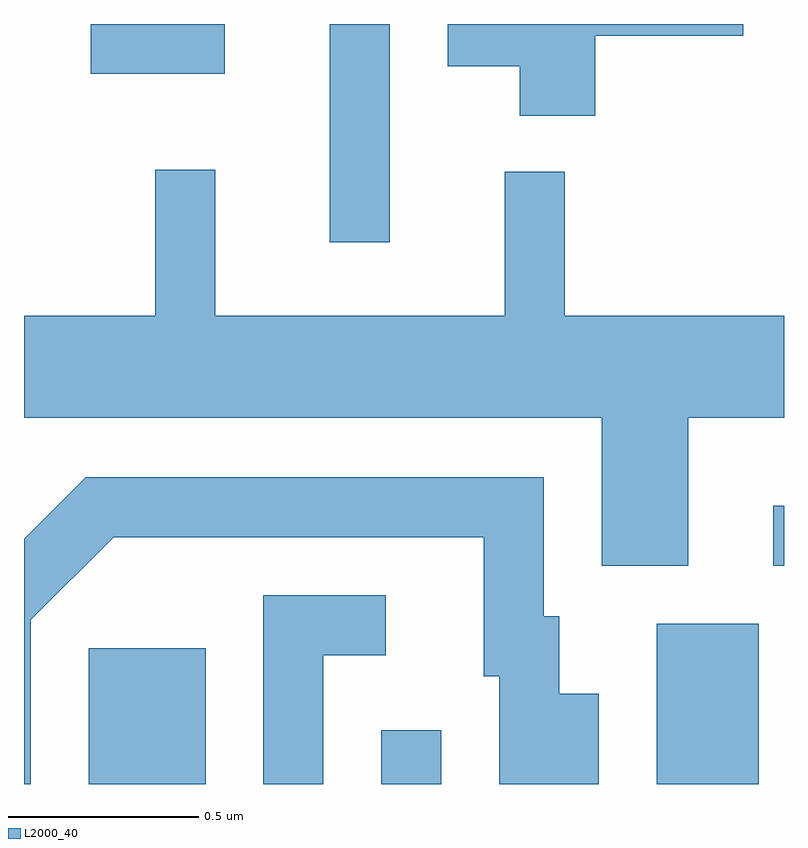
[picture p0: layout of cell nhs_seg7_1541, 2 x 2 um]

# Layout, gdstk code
import gdstk
lib = gdstk.Library(unit=1e-6, precision=1e-09)
def R(c, l, rs):  # rectangles x0, y0, x1, y1
    for r in rs: c.add(gdstk.rectangle(r[:2], r[2:], *l))
def P(c, l, *ps):  # polygons
    for p in ps: c.add(gdstk.Polygon(p, *l))
L2000_40 = (2000, 40)

nhs_seg7_1541 = lib.new_cell('nhs_seg7_1541')
R(nhs_seg7_1541, L2000_40, [(196.781,1702.252,197.089,1702.609), (197.551,1702.252,197.709,1702.393), (198.276,1702.252,198.544,1702.674), (198.583,1702.826,198.611,1702.984), (197.416,1703.678,197.574,1704.252), (196.786,1704.121,197.139,1704.252)])
P(nhs_seg7_1541, L2000_40, [(198.114,1704.221),(198.504,1704.221),(198.504,1704.252),(197.726,1704.252),(197.726,1704.141),(197.916,1704.141),(197.916,1704.011),(198.114,1704.011)],
  [(198.359,1703.216),(198.611,1703.216),(198.611,1703.484),(198.034,1703.484),(198.034,1703.863),(197.876,1703.863),(197.876,1703.484),(197.114,1703.484),(197.114,1703.868),(196.956,1703.868),(196.956,1703.484),(196.611,1703.484),(196.611,1703.216),(198.131,1703.216),(198.131,1702.826),(198.359,1702.826)],
  [(196.629,1702.684),(196.847,1702.901),(197.821,1702.901),(197.821,1702.536),(197.861,1702.536),(197.861,1702.252),(198.124,1702.252),(198.124,1702.489),(198.019,1702.489),(198.019,1702.694),(197.979,1702.694),(197.979,1703.059),(196.774,1703.059),(196.611,1702.897),(196.611,1702.252),(196.629,1702.252)],
  [(197.399,1702.591),(197.563,1702.591),(197.563,1702.749),(197.241,1702.749),(197.241,1702.252),(197.399,1702.252)])

lib.write_gds('nhs_seg7_1541.gds')
